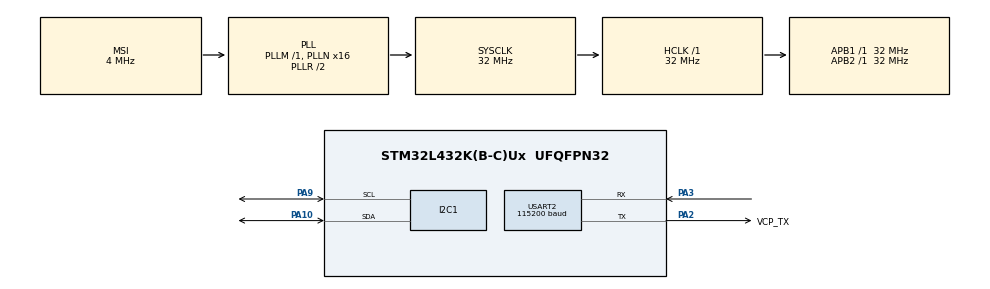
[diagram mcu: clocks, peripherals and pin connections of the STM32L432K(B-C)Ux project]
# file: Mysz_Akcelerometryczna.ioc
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I2C1.Timing=0x00707CBB
Mcu.Family=STM32L4
Mcu.Name=STM32L432K(B-C)Ux
Mcu.Package=UFQFPN32
NVIC.PriorityGroup=NVIC_PRIORITYGROUP_4
PA0.GPIO_Label=MCO [High speed clock in]
PA0.Signal=RCC_CK_IN
PA10.Mode=I2C
PA10.Signal=I2C1_SDA
PA13\ (JTMS-SWDIO).GPIO_Label=SWDIO
PA13\ (JTMS-SWDIO).Signal=SYS_JTMS-SWDIO
PA14\ (JTCK-SWCLK).GPIO_Label=SWCLK
PA14\ (JTCK-SWCLK).Signal=SYS_JTCK-SWCLK
PA2.GPIO_Label=VCP_TX
PA2.Mode=Asynchronous
PA2.Signal=USART2_TX
PA3.Mode=Asynchronous
PA3.Signal=USART2_RX
PA9.Mode=I2C
PA9.Signal=I2C1_SCL
PC14-OSC32_IN\ (PC14).Signal=RCC_OSC32_IN
PC15-OSC32_OUT\ (PC15).Signal=RCC_OSC32_OUT
ProjectManager.HeapSize=0x200
ProjectManager.StackSize=0x400
ProjectManager.TargetToolchain=STM32CubeIDE
RCC.AHBFreq_Value=32000000
RCC.APB1Freq_Value=32000000
RCC.APB1TimFreq_Value=32000000
RCC.APB2Freq_Value=32000000
RCC.APB2TimFreq_Value=32000000
RCC.CortexFreq_Value=32000000
RCC.HCLKFreq_Value=32000000
RCC.HSE_VALUE=8000000
RCC.HSI16_VALUE=16000000
RCC.HSI48_VALUE=48000000
RCC.HSI_VALUE=16000000
RCC.LSE_VALUE=32768
RCC.MSI_VALUE=4000000
RCC.PLLMUL=RCC_PLLMUL_4
RCC.PLLN=16
RCC.SYSCLKFreq_VALUE=32000000
RCC.SYSCLKSource=RCC_SYSCLKSOURCE_PLLCLK
RCC.VCOOutputFreq_Value=64000000
USART2.BaudRate=115200
USART2.Mode=MODE_TX_RX
USART2.VirtualMode-Asynchronous=VM_ASYNC
board=NUCLEO-L432KC

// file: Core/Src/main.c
/* USER CODE BEGIN Header */
/**
  ******************************************************************************
  * @file           : main.c
  * @brief          : Main program body
  ******************************************************************************
  * @attention
  *
  * Copyright (c) 2023 STMicroelectronics.
  * All rights reserved.
  *
  * This software is licensed under terms that can be found in the LICENSE file
  * in the root directory of this software component.
  * If no LICENSE file comes with this software, it is provided AS-IS.
  *
  ******************************************************************************
  */
/* USER CODE END Header */
#include "main.h"

/* USER CODE BEGIN Includes */
#include <stdio.h>
#include <stdint.h>
/* USER CODE END Includes */

/* USER CODE BEGIN PD */
#define PRINTF_TIME_DELAY 100

//Defines for MPU-9250 registers
#define MPU_9250_ADDR 0xD0
#define MPU_9250_WHO_AM_I 0x75
#define MPU_9250_ACCEL_XOUT_H 0x3B
#define MPU_9250_ACCEL_XOUT_L 0x3C
#define MPU_9250_ACCEL_YOUT_H 0x3D
#define MPU_9250_ACCEL_YOUT_L 0x3E
#define MPU_9250_ACCEL_ZOUT_H 0x3F
#define MPU_9250_ACCEL_ZOUT_L 0x40
/* USER CODE END PD */

I2C_HandleTypeDef hi2c1;

UART_HandleTypeDef huart2;

void SystemClock_Config(void);
static void MX_GPIO_Init(void);
static void MX_USART2_UART_Init(void);
static void MX_I2C1_Init(void);

/* USER CODE BEGIN 0 */
int __io_putchar(int ch)
{
    if (ch == '\n') {
        uint8_t ch2 = '\r';
        HAL_UART_Transmit(&huart2, &ch2, 1, HAL_MAX_DELAY);
    }

    HAL_UART_Transmit(&huart2, (uint8_t*)&ch, 1, HAL_MAX_DELAY);
    return 1;
}

uint8_t mpu_9250_read_reg(uint8_t reg)
{
	uint8_t value;
	HAL_I2C_Mem_Read(&hi2c1, MPU_9250_ADDR, reg, 1, &value, sizeof(value), HAL_MAX_DELAY);

	return value;
}

void mpu_9250_write_reg(uint8_t reg, uint8_t value)
{
	HAL_I2C_Mem_Write(&hi2c1, MPU_9250_ADDR, reg, 1, &value, sizeof(value), HAL_MAX_DELAY);
}
/* USER CODE END 0 */

int main(void)
{

  /* MCU Configuration--------------------------------------------------------*/

  /* Reset of all peripherals, Initializes the Flash interface and the Systick. */
  HAL_Init();

  /* Configure the system clock */
  SystemClock_Config();

  /* Initialize all configured peripherals */
  MX_GPIO_Init();
  MX_USART2_UART_Init();
  MX_I2C1_Init();
  /* USER CODE BEGIN 2 */

  //Counter setup
  uint16_t counter = 0;

  //Accelerometer partial values
  uint8_t Mpu_9250_Accel_Xout_H_Value = 0;
  uint8_t Mpu_9250_Accel_Xout_L_Value = 0;
  uint8_t Mpu_9250_Accel_Yout_H_Value = 0;
  uint8_t Mpu_9250_Accel_Yout_L_Value = 0;
  uint8_t Mpu_9250_Accel_Zout_H_Value = 0;
  uint8_t Mpu_9250_Accel_Zout_L_Value = 0;

  //Accelerometer full values
  int16_t Mpu_9250_Accel_Xout_Value = 0;
  int16_t Mpu_9250_Accel_Yout_Value = 0;
  int16_t Mpu_9250_Accel_Zout_Value = 0;

  //Baud rate setup for UART BT401
  HAL_UART_Transmit(&huart2, (uint8_t*)"AT+CT05\r\n", 11, HAL_MAX_DELAY);

  //Startup connection verification
  uint8_t who_am_i = mpu_9250_read_reg(MPU_9250_WHO_AM_I);

  if (who_am_i != 0) {
	  printf("Found: MPU-9250\n");
  }
  else
  {
	  printf("Error: (0x%02X)\n", who_am_i);
  }

  //Reset accelerometer registers
  mpu_9250_write_reg(0x77, 0x00);
  mpu_9250_write_reg(0x78, 0x00);
  mpu_9250_write_reg(0x7A, 0x00);
  mpu_9250_write_reg(0x7B, 0x00);
  mpu_9250_write_reg(0x7D, 0x00);
  mpu_9250_write_reg(0x7E, 0x00);

  //Accelerometer configuration change
  uint8_t Configuration_Data_MPU_9250 = mpu_9250_read_reg(0x1C);
  Configuration_Data_MPU_9250 |= (0 << 3);
  Configuration_Data_MPU_9250 |= (0 << 4);
  Configuration_Data_MPU_9250 |= (1 << 5);
  Configuration_Data_MPU_9250 |= (1 << 6);
  Configuration_Data_MPU_9250 |= (1 << 7);
  mpu_9250_write_reg(0x1C, Configuration_Data_MPU_9250);
  /* USER CODE END 2 */

  /* Infinite loop */
  /* USER CODE BEGIN WHILE */
  while (1)
  {
	  //Accelerometer data reading
	  Mpu_9250_Accel_Xout_H_Value = mpu_9250_read_reg(MPU_9250_ACCEL_XOUT_H);
	  Mpu_9250_Accel_Xout_L_Value = mpu_9250_read_reg(MPU_9250_ACCEL_XOUT_L);
	  Mpu_9250_Accel_Yout_H_Value = mpu_9250_read_reg(MPU_9250_ACCEL_YOUT_H);
	  Mpu_9250_Accel_Yout_L_Value = mpu_9250_read_reg(MPU_9250_ACCEL_YOUT_L);
	  Mpu_9250_Accel_Zout_H_Value = mpu_9250_read_reg(MPU_9250_ACCEL_ZOUT_H);
	  Mpu_9250_Accel_Zout_L_Value = mpu_9250_read_reg(MPU_9250_ACCEL_ZOUT_L);

	  //Accelerometer full values completing
	  Mpu_9250_Accel_Xout_Value = ((Mpu_9250_Accel_Xout_H_Value << 8)|Mpu_9250_Accel_Xout_L_Value);
	  Mpu_9250_Accel_Yout_Value = ((Mpu_9250_Accel_Yout_H_Value << 8)|Mpu_9250_Accel_Yout_L_Value);
	  Mpu_9250_Accel_Zout_Value = ((Mpu_9250_Accel_Zout_H_Value << 8)|Mpu_9250_Accel_Zout_L_Value);

	  //Accelerometer data sending by BT401
	  printf("%d. MPU-9250 accelerometer reading:\n", counter);
	  printf("	Mpu_9250_Accel_Xout_Value = %d\n", Mpu_9250_Accel_Xout_Value);
	  printf("	Mpu_9250_Accel_Yout_Value = %d\n", Mpu_9250_Accel_Yout_Value);
	  printf("	Mpu_9250_Accel_Zout_Value = %d\n\n", Mpu_9250_Accel_Zout_Value);

	  //Delay and counter update
	  HAL_Delay(PRINTF_TIME_DELAY);
	  counter++;
    /* USER CODE END WHILE */

  }
}

void SystemClock_Config(void)
{
  RCC_OscInitTypeDef RCC_OscInitStruct = {0};
  RCC_ClkInitTypeDef RCC_ClkInitStruct = {0};

  /** Configure the main internal regulator output voltage
  */
  if (HAL_PWREx_ControlVoltageScaling(PWR_REGULATOR_VOLTAGE_SCALE1) != HAL_OK)
  {
    Error_Handler();
  }

  /** Initializes the RCC Oscillators according to the specified parameters
  * in the RCC_OscInitTypeDef structure.
  */
  RCC_OscInitStruct.OscillatorType = RCC_OSCILLATORTYPE_MSI;
  RCC_OscInitStruct.MSIState = RCC_MSI_ON;
  RCC_OscInitStruct.MSICalibrationValue = 0;
  RCC_OscInitStruct.MSIClockRange = RCC_MSIRANGE_6;
  RCC_OscInitStruct.PLL.PLLState = RCC_PLL_ON;
  RCC_OscInitStruct.PLL.PLLSource = RCC_PLLSOURCE_MSI;
  RCC_OscInitStruct.PLL.PLLM = 1;
  RCC_OscInitStruct.PLL.PLLN = 16;
  RCC_OscInitStruct.PLL.PLLP = RCC_PLLP_DIV7;
  RCC_OscInitStruct.PLL.PLLQ = RCC_PLLQ_DIV2;
  RCC_OscInitStruct.PLL.PLLR = RCC_PLLR_DIV2;
  if (HAL_RCC_OscConfig(&RCC_OscInitStruct) != HAL_OK)
  {
    Error_Handler();
  }

  /** Initializes the CPU, AHB and APB buses clocks
  */
  RCC_ClkInitStruct.ClockType = RCC_CLOCKTYPE_HCLK|RCC_CLOCKTYPE_SYSCLK
                              |RCC_CLOCKTYPE_PCLK1|RCC_CLOCKTYPE_PCLK2;
  RCC_ClkInitStruct.SYSCLKSource = RCC_SYSCLKSOURCE_PLLCLK;
  RCC_ClkInitStruct.AHBCLKDivider = RCC_SYSCLK_DIV1;
  RCC_ClkInitStruct.APB1CLKDivider = RCC_HCLK_DIV1;
  RCC_ClkInitStruct.APB2CLKDivider = RCC_HCLK_DIV1;

  if (HAL_RCC_ClockConfig(&RCC_ClkInitStruct, FLASH_LATENCY_1) != HAL_OK)
  {
    Error_Handler();
  }
}

static void MX_I2C1_Init(void)
{

  hi2c1.Instance = I2C1;
  hi2c1.Init.Timing = 0x00707CBB;
  hi2c1.Init.OwnAddress1 = 0;
  hi2c1.Init.AddressingMode = I2C_ADDRESSINGMODE_7BIT;
  hi2c1.Init.DualAddressMode = I2C_DUALADDRESS_DISABLE;
  hi2c1.Init.OwnAddress2 = 0;
  hi2c1.Init.OwnAddress2Masks = I2C_OA2_NOMASK;
  hi2c1.Init.GeneralCallMode = I2C_GENERALCALL_DISABLE;
  hi2c1.Init.NoStretchMode = I2C_NOSTRETCH_DISABLE;
  if (HAL_I2C_Init(&hi2c1) != HAL_OK)
  {
    Error_Handler();
  }

  /** Configure Analogue filter
  */
  if (HAL_I2CEx_ConfigAnalogFilter(&hi2c1, I2C_ANALOGFILTER_ENABLE) != HAL_OK)
  {
    Error_Handler();
  }

  /** Configure Digital filter
  */
  if (HAL_I2CEx_ConfigDigitalFilter(&hi2c1, 0) != HAL_OK)
  {
    Error_Handler();
  }

}

static void MX_USART2_UART_Init(void)
{

  huart2.Instance = USART2;
  huart2.Init.BaudRate = 115200;
  huart2.Init.WordLength = UART_WORDLENGTH_8B;
  huart2.Init.StopBits = UART_STOPBITS_1;
  huart2.Init.Parity = UART_PARITY_NONE;
  huart2.Init.Mode = UART_MODE_TX_RX;
  huart2.Init.HwFlowCtl = UART_HWCONTROL_NONE;
  huart2.Init.OverSampling = UART_OVERSAMPLING_16;
  huart2.Init.OneBitSampling = UART_ONE_BIT_SAMPLE_DISABLE;
  huart2.AdvancedInit.AdvFeatureInit = UART_ADVFEATURE_NO_INIT;
  if (HAL_UART_Init(&huart2) != HAL_OK)
  {
    Error_Handler();
  }

}

static void MX_GPIO_Init(void)
{

  /* GPIO Ports Clock Enable */
  __HAL_RCC_GPIOC_CLK_ENABLE();
  __HAL_RCC_GPIOA_CLK_ENABLE();

}

void Error_Handler(void)
{
  __disable_irq();
  while (1)
  {
  }
}
